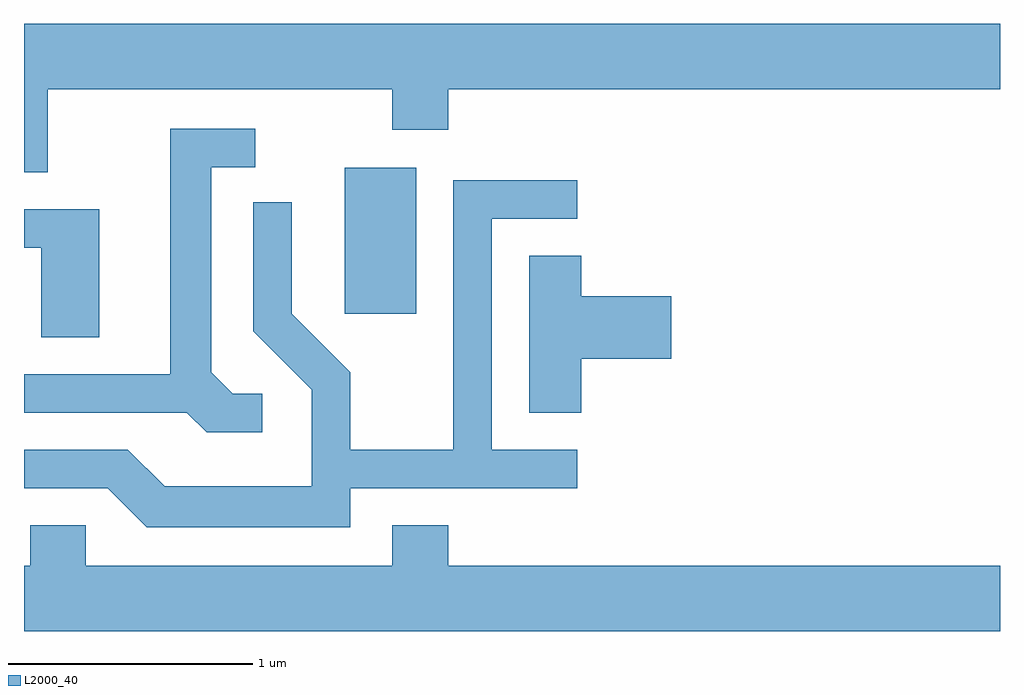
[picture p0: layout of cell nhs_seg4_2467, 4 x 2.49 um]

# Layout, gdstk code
import gdstk
lib = gdstk.Library(unit=1e-6, precision=1e-09)
def R(c, l, rs):  # rectangles x0, y0, x1, y1
    for r in rs: c.add(gdstk.rectangle(r[:2], r[2:], *l))
def P(c, l, *ps):  # polygons
    for p in ps: c.add(gdstk.Polygon(p, *l))
L2000_40 = (2000, 40)

nhs_seg4_2467 = lib.new_cell('nhs_seg4_2467')
R(nhs_seg4_2467, L2000_40, [(258.926,1293.816,259.219,1294.414)])
P(nhs_seg4_2467, L2000_40, [(257.709,1294.736),(259.121,1294.736),(259.121,1294.571),(259.349,1294.571),(259.349,1294.736),(261.611,1294.736),(261.611,1295.004),(257.611,1295.004),(257.611,1294.396),(257.709,1294.396)],
  [(258.587,1293.489),(258.467,1293.489),(258.379,1293.577),(258.379,1294.416),(258.558,1294.416),(258.558,1294.574),(258.211,1294.574),(258.211,1293.569),(257.611,1293.569),(257.611,1293.411),(258.279,1293.411),(258.359,1293.331),(258.587,1293.331)],
  [(258.949,1293.101),(259.878,1293.101),(259.878,1293.259),(259.529,1293.259),(259.529,1294.206),(259.878,1294.206),(259.878,1294.364),(259.371,1294.364),(259.371,1293.259),(258.949,1293.259),(258.949,1293.577),(258.709,1293.817),(258.709,1294.273),(258.551,1294.273),(258.551,1293.744),(258.791,1293.504),(258.791,1293.109),(258.187,1293.109),(258.037,1293.259),(257.611,1293.259),(257.611,1293.101),(257.954,1293.101),(258.114,1292.941),(258.949,1292.941)],
  [(257.919,1294.244),(257.611,1294.244),(257.611,1294.086),(257.681,1294.086),(257.681,1293.721),(257.919,1293.721)],
  [(259.894,1293.631),(260.264,1293.631),(260.264,1293.889),(259.894,1293.889),(259.894,1294.054),(259.681,1294.054),(259.681,1293.411),(259.894,1293.411)],
  [(261.611,1292.784),(259.349,1292.784),(259.349,1292.949),(259.121,1292.949),(259.121,1292.784),(257.864,1292.784),(257.864,1292.949),(257.636,1292.949),(257.636,1292.784),(257.611,1292.784),(257.611,1292.516),(261.611,1292.516)])

lib.write_gds('nhs_seg4_2467.gds')
